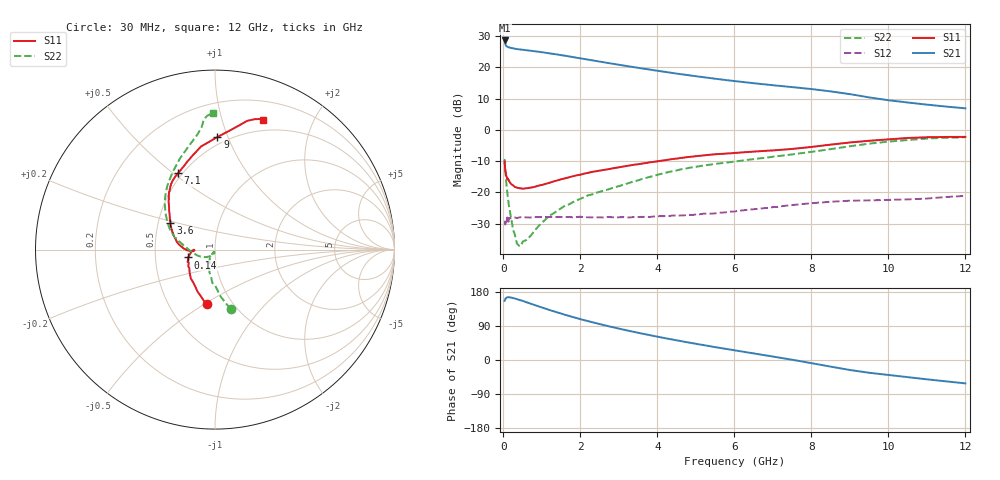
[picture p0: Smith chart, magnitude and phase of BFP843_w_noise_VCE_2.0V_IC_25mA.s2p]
! Infineon Technologies  Discrete & RF Semiconductors
! BFP843
! VCE =  2.0 V,  IC =  25 mA
! Common Emitter S-Parameters:  Aug 2013
# GHz  S  MA  R  50
!  f  S11  S21  S12  S22
! GHz  MAG  ANG  MAG  ANG  MAG  ANG  MAG  ANG
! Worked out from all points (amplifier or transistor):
!   103 points, 30 MHz to 12 GHz, reference 50 ohm
!   highest |S21| = 28.6 dB at 30 MHz (marker M1)
!   |S21| within 3 dB of that: start of sweep to 514.8 MHz
!   unconditionally stable (mu >= 1): 77.57 MHz to 87.94 MHz; 104.9 MHz to 10.71 GHz
!   at 400 MHz: K = 1.03, MAG = 25.9 dB, |S12| = -28.0 dB
!   at 3.7 GHz: K = 1.37, MAG = 20.0 dB, |S12| = -27.8 dB
!   at 12 GHz: K = 0.85, MSG = 14.0 dB, |S12| = -21.1 dB
!   lowest NFmin = 1.12 dB at 450 MHz
!   S11 on the Smith chart (normalised r, x): 30 MHz: 0.76, -0.51; 140 MHz: 0.73, -0.07; 3.6 GHz: 0.58, +0.19; 7.1 GHz: 0.47, +0.52; 9 GHz: 0.44, +0.92; 12 GHz: 0.38, +1.36
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0.03  0.3092 -98.8  26.8 156.1  0.0328 21.8  0.3428 -75.3
0.04  0.2538 -112.4  24.54 158.3  0.0342 23.5  0.2627 -83.3
0.05  0.2224 -122.1  23.37 161.4  0.0306 25.6  0.2014 -89.6
0.07  0.1886 -138.8  21.98 163.7  0.0348 14.9  0.1473 -98.8
0.1  0.1632 -153.6  21.27 165.3  0.0397 11.6  0.0968 -111.6
0.14  0.1574 -163.9  20.81 165.5  0.0376 8.4  0.0617 -117.9
0.2  0.1359 -172.7  20.25 164.8  0.0386 6.6  0.0383 -125.7
0.45  0.1161 -179.3  19.18 157.5  0.0401 3.5  0.0138 -102.5
0.9  0.1276 -176.5  17.72 142.0  0.0402 2.4  0.0284 -110.8
1.2  0.1427 -176.7  16.67 131.9  0.0404 2.1  0.0425 -124.0
1.6  0.1675 179.0  15.26 119.4  0.0402 1.7  0.0612 -136.9
2.1  0.1993 172.6  13.54 105.1  0.0401 1.3  0.0838 -151.9
2.8  0.2396 161.9  11.47 87.5  0.0401 3.3  0.1156 -167.5
3.6  0.2879 149.5  9.574 69.7  0.0405 5.2  0.1632 175.4
4.1  0.3203 142.2  8.601 59.6  0.0417 6.8  0.1978 168.0
5  0.3787 132.9  7.187 42.7  0.0443 9.5  0.2564 158.9
6.1  0.4305 125.3  5.921 24.0  0.0506 12.5  0.3163 148.1
7.1  0.4737 115.7  5.087 7.4  0.0583 11.1  0.3777 137.7
8.5  0.5793 97.8  4.113 -17.5  0.0708 2.5  0.4907 118.9
9  0.6272 88.8  3.718 -26.4  0.0736 -1.3  0.546 110.8
10.5  0.7401 75.9  2.734 -45.2  0.0772 -8.3  0.6865 96.2
12  0.7709 69.8  2.203 -61.7  0.0879 -15.4  0.7608 90.9
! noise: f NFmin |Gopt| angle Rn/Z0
0.45  1.12  0.15  -173  0.07
0.9  1.12  0.15  -165  0.1
1.5  1.14  0.16  -158  0.19
1.9  1.16  0.16  -147  0.24
2.4  1.18  0.16  -135  0.31
3.5  1.22  0.17  -119  0.36
5.5  1.33  0.29  -107  0.47
10  1.9  0.53  -59  0.64
